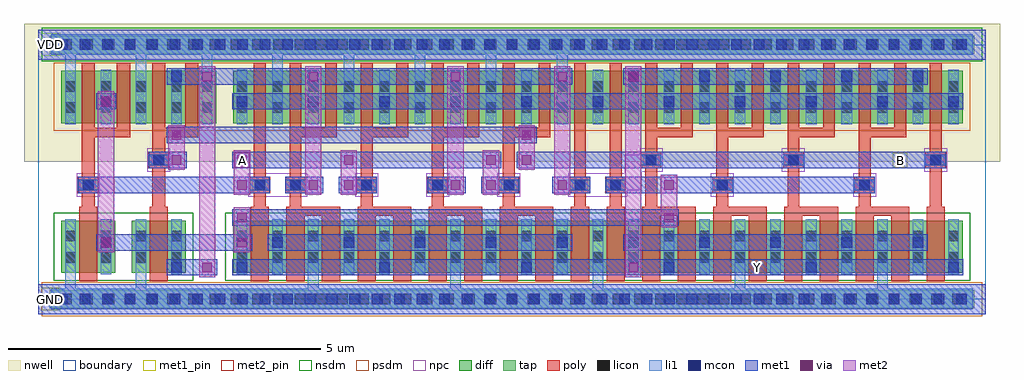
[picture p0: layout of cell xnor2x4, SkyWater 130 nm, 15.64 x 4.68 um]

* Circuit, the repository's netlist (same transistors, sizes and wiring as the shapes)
** sch_path: /foss/designs/xnor2x4.sch
.subckt xnor2x4 A B Y VDD GND
*.PININFO A:I B:I Y:O VDD:B GND:B
XM9 Abar A GND GND sky130_fd_pr__nfet_01v8 L=0.29 W=0.84 nf=1
XM10 Abar A VDD VDD sky130_fd_pr__pfet_01v8 L=0.21 W=1.68 nf=2
XM2 Y A net1 GND sky130_fd_pr__nfet_01v8 L=0.29 W=4.2 nf=5
XM5 net3 A VDD VDD sky130_fd_pr__pfet_01v8 L=0.19 W=4.2 nf=5
XM12 Bbar B VDD VDD sky130_fd_pr__pfet_01v8 L=0.21 W=1.68 nf=2
XM11 Bbar B GND GND sky130_fd_pr__nfet_01v8 L=0.29 W=0.84 nf=1
XM1 net1 Bbar GND GND sky130_fd_pr__nfet_01v8 L=0.29 W=4.2 nf=5
XM3 net2 Abar GND GND sky130_fd_pr__nfet_01v8 L=0.29 W=4.2 nf=5
XM4 Y B net2 GND sky130_fd_pr__nfet_01v8 L=0.29 W=4.2 nf=5
XM6 Y B net3 VDD sky130_fd_pr__pfet_01v8 L=0.19 W=4.2 nf=5
XM8 Y Abar net3 VDD sky130_fd_pr__pfet_01v8 L=0.19 W=4.2 nf=5
XM7 net3 Bbar VDD VDD sky130_fd_pr__pfet_01v8 L=0.19 W=4.2 nf=5
.ends

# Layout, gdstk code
import gdstk
lib = gdstk.Library(unit=1e-6, precision=1e-09)
def R(c, l, rs):  # rectangles x0, y0, x1, y1
    for r in rs: c.add(gdstk.rectangle(r[:2], r[2:], *l))
def A(c, l, x, y, w, h, nx, ny, dx, dy):  # array of equal rectangles
    R(c, l, [(x+i*dx, y+j*dy, x+i*dx+w, y+j*dy+h) for i in range(nx) for j in range(ny)])
nwell = (64, 20)
diff = (65, 20)
tap = (65, 44)
poly = (66, 20)
licon = (66, 44)
li1 = (67, 20)
mcon = (67, 44)
met1_pin = (68, 16)
met1 = (68, 20)
via = (68, 44)
met2_pin = (69, 16)
met2 = (69, 20)
nsdm = (93, 44)
psdm = (94, 20)
npc = (95, 20)
boundary = (235, 4)

xnor2x4 = lib.new_cell('xnor2x4')
R(xnor2x4, nwell, [(-0.23,2.2,15.41,4.41)])
R(xnor2x4, diff, [(0.37,0.42,1.23,1.26), (1.5,0.42,2.36,1.26), (3.12,0.42,14.81,1.26), (0.37,2.82,2.85,3.66), (3.12,2.82,14.81,3.66)])
R(xnor2x4, tap, [(0.18,-0.145,15,0.145), (0.18,3.935,15,4.225)])
A(xnor2x4, poly, 3.975, 0.29, 0.29, 1.045, 8, 1, 0.57, 0)
A(xnor2x4, poly, 9.675, 0.29, 0.29, 1.045, 8, 1, 0.57, 0)
A(xnor2x4, poly, 3.975, 1.335, 0.86, 0.15, 4, 1, 1.14, 0)
A(xnor2x4, poly, 9.675, 1.335, 0.86, 0.15, 4, 1, 1.14, 0)
A(xnor2x4, poly, 4.025, 1.485, 0.19, 0.21, 5, 1, 1.14, 0)
A(xnor2x4, poly, 9.725, 1.485, 0.19, 0.61, 3, 1, 2.28, 0)
A(xnor2x4, poly, 3.955, 1.695, 0.33, 0.27, 5, 1, 1.14, 0)
A(xnor2x4, poly, 4.025, 1.965, 0.19, 0.63, 4, 1, 1.14, 0)
A(xnor2x4, poly, 9.655, 2.095, 0.33, 0.27, 3, 1, 2.28, 0)
A(xnor2x4, poly, 4.025, 2.595, 0.76, 0.15, 4, 1, 1.14, 0)
A(xnor2x4, poly, 9.725, 2.595, 0.76, 0.15, 4, 1, 1.14, 0)
A(xnor2x4, poly, 0.695, 2.745, 0.21, 1.045, 3, 1, 0.565, 0)
A(xnor2x4, poly, 4.025, 2.745, 0.19, 1.045, 8, 1, 0.57, 0)
A(xnor2x4, poly, 9.725, 2.745, 0.19, 1.045, 8, 1, 0.57, 0)
R(xnor2x4, poly, [(0.655,0.29,0.945,1.485), (1.785,0.29,2.075,1.485), (3.405,0.29,3.695,1.485), (8.535,0.29,8.825,1.485), (9.105,0.29,9.395,1.485), (14.235,0.29,14.525,1.485), (0.695,1.485,0.905,1.695), (1.825,1.485,2.035,2.095), (3.455,1.485,3.645,1.695), (9.155,1.485,9.345,1.695), (10.865,1.485,11.055,1.695), (13.145,1.485,13.335,1.695), (0.635,1.695,0.965,1.965), (3.385,1.695,3.715,1.965), (9.085,1.695,9.415,1.965), (10.795,1.695,11.125,1.965), (13.075,1.695,13.405,1.965), (0.695,1.965,0.905,2.595), (3.455,1.965,3.645,3.79), (8.585,1.965,8.775,3.79), (9.155,1.965,9.345,3.79), (10.865,1.965,11.055,2.595), (13.145,1.965,13.335,2.595), (1.765,2.095,2.095,2.365), (1.825,2.365,2.035,2.595), (9.725,2.365,9.915,2.595), (12.005,2.365,12.195,2.595), (14.285,2.365,14.475,3.79), (0.695,2.595,1.47,2.745), (1.825,2.595,2.565,2.745), (2.355,2.745,2.565,3.79)])
A(xnor2x4, licon, 0.365, -0.085, 0.17, 0.17, 43, 2, 0.34, 4.08)
A(xnor2x4, licon, 3.18, 0.585, 0.17, 0.17, 21, 2, 0.57, 0.34)
A(xnor2x4, licon, 4.035, 1.745, 0.17, 0.17, 5, 1, 1.14, 0)
A(xnor2x4, licon, 9.735, 2.145, 0.17, 0.17, 3, 1, 2.28, 0)
A(xnor2x4, licon, 3.18, 2.985, 0.17, 0.17, 21, 2, 0.57, 0.34)
R(xnor2x4, licon, [(0.43,0.585,0.6,0.755), (1,0.585,1.17,0.755), (1.56,0.585,1.73,0.755), (2.13,0.585,2.3,0.755), (0.43,0.925,0.6,1.095), (1,0.925,1.17,1.095), (1.56,0.925,1.73,1.095), (2.13,0.925,2.3,1.095), (0.715,1.745,0.885,1.915), (3.465,1.745,3.635,1.915), (9.165,1.745,9.335,1.915), (10.875,1.745,11.045,1.915), (13.155,1.745,13.325,1.915), (1.845,2.145,2.015,2.315), (0.43,2.985,0.6,3.155), (1,2.985,1.17,3.155), (1.56,2.985,1.73,3.155), (2.13,2.985,2.3,3.155), (2.62,2.985,2.79,3.155), (0.43,3.325,0.6,3.495), (1,3.325,1.17,3.495), (1.56,3.325,1.73,3.495), (2.13,3.325,2.3,3.495), (2.62,3.325,2.79,3.495)])
A(xnor2x4, li1, 4.32, 0.165, 0.17, 1.115, 5, 1, 2.28, 0)
A(xnor2x4, li1, 4.89, 0.4, 0.17, 0.88, 3, 1, 0.57, 0)
A(xnor2x4, li1, 7.17, 0.4, 0.17, 0.88, 3, 1, 0.57, 0)
A(xnor2x4, li1, 9.45, 0.4, 0.17, 0.88, 3, 1, 0.57, 0)
A(xnor2x4, li1, 11.73, 0.4, 0.17, 0.88, 3, 1, 0.57, 0)
A(xnor2x4, li1, 3.955, 1.745, 0.33, 0.17, 5, 1, 1.14, 0)
A(xnor2x4, li1, 9.655, 2.145, 0.33, 0.17, 3, 1, 2.28, 0)
A(xnor2x4, li1, 3.18, 2.8, 0.17, 0.88, 6, 1, 1.14, 0)
A(xnor2x4, li1, 3.75, 2.8, 0.17, 1.115, 5, 1, 1.14, 0)
A(xnor2x4, li1, 9.45, 2.8, 0.17, 0.88, 10, 1, 0.57, 0)
R(xnor2x4, li1, [(0.21,-0.165,14.97,0.165), (0.43,0.165,0.6,1.28), (1.56,0.165,1.73,1.28), (1,0.4,1.17,1.28), (2.13,0.4,2.3,1.28), (3.18,0.4,3.35,1.28), (3.75,0.4,3.92,1.28), (14.01,0.4,14.18,1.28), (14.58,0.4,14.75,1.28), (0.635,1.745,0.965,1.915), (3.385,1.745,3.715,1.915), (9.085,1.745,9.415,1.915), (10.795,1.745,11.125,1.915), (13.075,1.745,13.405,1.915), (1.765,2.145,2.095,2.315), (0.43,2.8,0.6,3.915), (1,2.8,1.17,3.68), (1.56,2.8,1.73,3.915), (2.13,2.8,2.3,3.68), (2.62,2.8,2.79,3.915), (0.21,3.915,14.97,4.245)])
A(xnor2x4, mcon, 0.305, -0.085, 0.17, 0.17, 41, 2, 0.36, 4.08)
A(xnor2x4, mcon, 3.18, 0.425, 0.17, 0.17, 6, 1, 2.28, 0)
A(xnor2x4, mcon, 3.75, 0.825, 0.17, 0.17, 10, 1, 1.14, 0)
A(xnor2x4, mcon, 4.035, 1.745, 0.17, 0.17, 5, 1, 1.14, 0)
A(xnor2x4, mcon, 9.735, 2.145, 0.17, 0.17, 3, 1, 2.28, 0)
A(xnor2x4, mcon, 3.18, 3.085, 0.17, 0.17, 11, 1, 1.14, 0)
A(xnor2x4, mcon, 9.45, 3.485, 0.17, 0.17, 5, 1, 1.14, 0)
R(xnor2x4, mcon, [(2.13,0.425,2.3,0.595), (1,0.825,1.17,0.995), (0.715,1.745,0.885,1.915), (3.465,1.745,3.635,1.915), (9.165,1.745,9.335,1.915), (10.875,1.745,11.045,1.915), (13.155,1.745,13.325,1.915), (1.845,2.145,2.015,2.315), (1,3.085,1.17,3.255), (2.13,3.485,2.3,3.655)])
R(xnor2x4, met1_pin, [(0.05,-0.18,0.35,0.18), (11.415,0.395,11.645,0.625), (13.695,2.115,13.925,2.345), (0.05,3.9,0.35,4.26)])
R(xnor2x4, met1, [(0,-0.24,15.18,0.24), (2.055,0.38,2.865,0.64), (3.105,0.38,14.825,0.64), (0.925,0.78,3.425,1.04), (3.675,0.78,8.555,1.04), (9.375,0.78,14.255,1.04), (3.105,1.18,10.265,1.44), (0.64,1.7,3.71,1.96), (3.96,1.7,4.565,1.96), (4.815,1.7,5.42,1.96), (6.24,1.7,6.845,1.96), (7.095,1.7,7.7,1.96), (8.235,1.7,8.84,1.96), (9.09,1.7,13.4,1.96), (1.77,2.1,2.375,2.36), (3.105,2.1,7.415,2.36), (7.665,2.1,14.54,2.36), (2.055,2.5,7.985,2.76), (0.925,3.04,1.245,3.3), (3.105,3.04,14.825,3.3), (2.055,3.44,8.555,3.7), (9.375,3.44,14.255,3.7), (0,3.84,15.18,4.32)])
R(xnor2x4, via, [(2.63,0.435,2.78,0.585), (9.46,0.435,9.61,0.585), (1.01,0.835,1.16,0.985), (3.19,0.835,3.34,0.985), (3.19,1.235,3.34,1.385), (10.03,1.235,10.18,1.385), (3.19,1.755,3.34,1.905), (4.33,1.755,4.48,1.905), (4.9,1.755,5.05,1.905), (6.61,1.755,6.76,1.905), (7.18,1.755,7.33,1.905), (8.32,1.755,8.47,1.905), (10.03,1.755,10.18,1.905), (2.14,2.155,2.29,2.305), (3.19,2.155,3.34,2.305), (4.9,2.155,5.05,2.305), (7.18,2.155,7.33,2.305), (7.75,2.155,7.9,2.305), (2.14,2.555,2.29,2.705), (7.75,2.555,7.9,2.705), (1.01,3.095,1.16,3.245), (2.63,3.495,2.78,3.645), (4.33,3.495,4.48,3.645), (6.61,3.495,6.76,3.645), (8.32,3.495,8.47,3.645), (9.46,3.495,9.61,3.645)])
R(xnor2x4, met2_pin, [(3.15,2.115,3.38,2.345)])
R(xnor2x4, met2, [(2.575,0.35,2.835,3.73), (9.405,0.35,9.665,3.73), (0.955,0.75,1.215,3.33), (3.135,0.75,3.395,1.47), (9.975,1.15,10.235,1.99), (3.135,1.67,3.395,2.39), (4.275,1.67,4.535,3.73), (4.845,1.67,5.105,2.39), (6.555,1.67,6.815,3.73), (7.125,1.67,7.385,2.39), (8.265,1.67,8.525,3.73), (2.085,2.07,2.345,2.79), (7.695,2.07,7.955,2.79)])
R(xnor2x4, nsdm, [(0.245,0.295,2.485,1.385), (2.995,0.295,14.935,1.385), (0.055,3.81,15.125,4.35)])
R(xnor2x4, psdm, [(0.055,-0.27,15.125,0.27), (0.245,2.695,14.935,3.785)])
A(xnor2x4, npc, 5.075, 1.645, 0.37, 0.37, 3, 1, 1.14, 0)
R(xnor2x4, npc, [(0.615,1.645,0.985,2.015), (3.365,1.645,4.305,2.015), (8.495,1.645,9.435,1.745), (10.775,1.645,11.145,2.015), (13.055,1.645,13.425,2.015), (8.495,1.745,9.67,2.015), (9.4,2.015,9.67,2.045), (1.745,2.045,2.115,2.415), (9.4,2.045,10.005,2.315), (11.915,2.045,12.285,2.415), (14.195,2.045,14.565,2.415), (9.635,2.315,10.005,2.415)])
R(xnor2x4, boundary, [(0,0,15.18,4.08)])
xnor2x4.add(gdstk.Label('A', (3.265,2.23), layer=69, texttype=5))
xnor2x4.add(gdstk.Label('B', (13.81,2.23), layer=68, texttype=5))
xnor2x4.add(gdstk.Label('Y', (11.53,0.51), layer=68, texttype=5))
xnor2x4.add(gdstk.Label('VDD', (0.2,4.08), layer=68, texttype=5))
xnor2x4.add(gdstk.Label('GND', (0.2,0), layer=68, texttype=5))

lib.write_gds('xnor2x4.gds')
